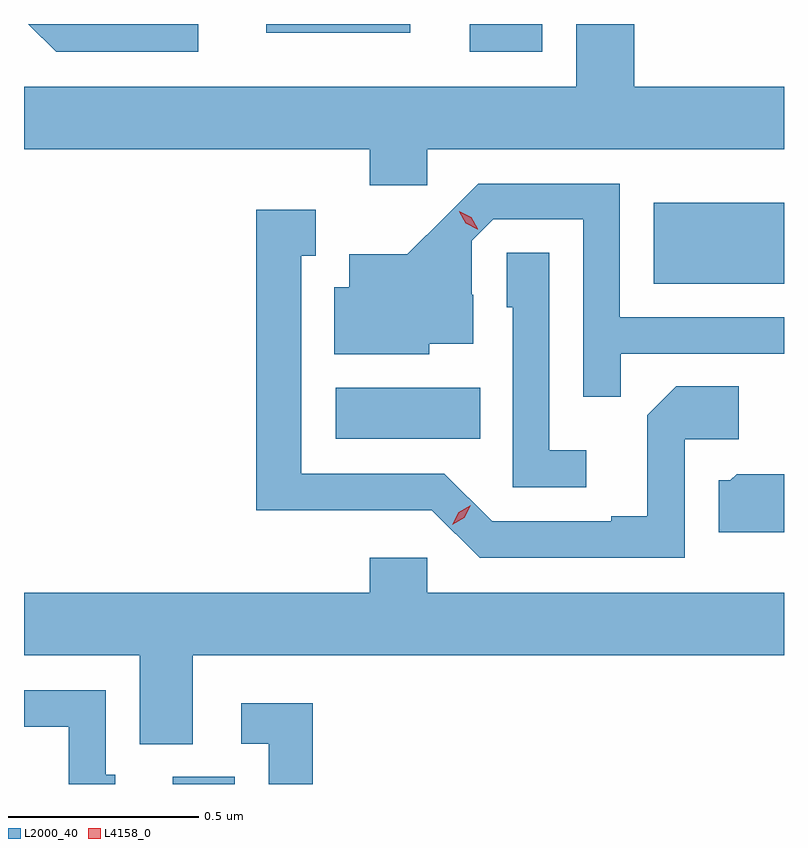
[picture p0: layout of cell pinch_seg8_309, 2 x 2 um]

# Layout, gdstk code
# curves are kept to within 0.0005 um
import gdstk
lib = gdstk.Library(unit=1e-6, precision=1e-09)
def R(c, l, rs):  # rectangles x0, y0, x1, y1
    for r in rs: c.add(gdstk.rectangle(r[:2], r[2:], *l))
def P(c, l, *ps):  # polygons
    for p in ps: c.add(gdstk.Polygon(p, *l))
L2000_40 = (2000, 40)
L4158_0 = (4158, 0)

pinch_seg8_309 = lib.new_cell('pinch_seg8_309')
R(pinch_seg8_309, L2000_40, [(537.212,1141.469,537.376,1141.488), (537.642,1142.378,538.022,1142.512), (538.478,1142.786,538.821,1142.998), (537.994,1143.396,538.185,1143.469), (537.458,1143.446,537.838,1143.469)])
P(pinch_seg8_309, L2000_40, [(537.279,1143.469),(536.832,1143.469),(536.906,1143.396),(537.279,1143.396)],
  [(537.882,1143.14),(538.821,1143.14),(538.821,1143.304),(538.427,1143.304),(538.427,1143.469),(538.274,1143.469),(538.274,1143.304),(536.821,1143.304),(536.821,1143.14),(537.731,1143.14),(537.731,1143.045),(537.882,1143.045)],
  [(538.391,1142.601),(538.821,1142.601),(538.821,1142.697),(538.389,1142.697),(538.389,1143.048),(538.016,1143.048),(537.829,1142.863),(537.677,1142.863),(537.677,1142.776),(537.638,1142.776),(537.638,1142.6),(537.888,1142.6),(537.888,1142.627),(538.003,1142.627),(538.003,1142.756),(537.999,1142.756),(537.999,1142.898),(538.056,1142.955),(538.293,1142.955),(538.293,1142.488),(538.391,1142.488)],
  [(538.56,1142.376),(538.702,1142.376),(538.702,1142.516),(538.537,1142.516),(538.461,1142.44),(538.461,1142.173),(538.367,1142.173),(538.367,1142.16),(538.053,1142.16),(537.927,1142.286),(537.55,1142.286),(537.55,1142.859),(537.589,1142.859),(537.589,1142.98),(537.432,1142.98),(537.432,1142.189),(537.672,1142.189),(537.672,1142.19),(537.894,1142.19),(538.02,1142.064),(538.56,1142.064)],
  [(538.3,1142.347),(538.203,1142.347),(538.203,1142.867),(538.092,1142.867),(538.092,1142.724),(538.107,1142.724),(538.107,1142.25),(538.3,1142.25)],
  [(538.821,1142.284),(538.696,1142.284),(538.68,1142.268),(538.649,1142.268),(538.649,1142.132),(538.821,1142.132)],
  [(537.265,1141.808),(538.821,1141.808),(538.821,1141.972),(537.882,1141.972),(537.882,1142.065),(537.731,1142.065),(537.731,1141.972),(536.821,1141.972),(536.821,1141.808),(537.125,1141.808),(537.125,1141.573),(537.265,1141.573)],
  [(537.061,1141.494),(537.036,1141.494),(537.036,1141.716),(536.821,1141.716),(536.821,1141.62),(536.939,1141.62),(536.939,1141.469),(537.061,1141.469)],
  [(537.581,1141.681),(537.393,1141.681),(537.393,1141.575),(537.465,1141.575),(537.465,1141.469),(537.581,1141.469)])
P(pinch_seg8_309, L4158_0, [(538.014,1142.929),(537.984,1142.945),(537.966,1142.975),(537.966,1142.976),(537.967,1142.976),(537.998,1142.96),(538.015,1142.93),(538.015,1142.929)],
  [(537.948,1142.151),(537.948,1142.151),(537.965,1142.184),(537.996,1142.203),(537.997,1142.203),(537.997,1142.202),(537.98,1142.17),(537.948,1142.151)])

lib.write_gds('pinch_seg8_309.gds')
